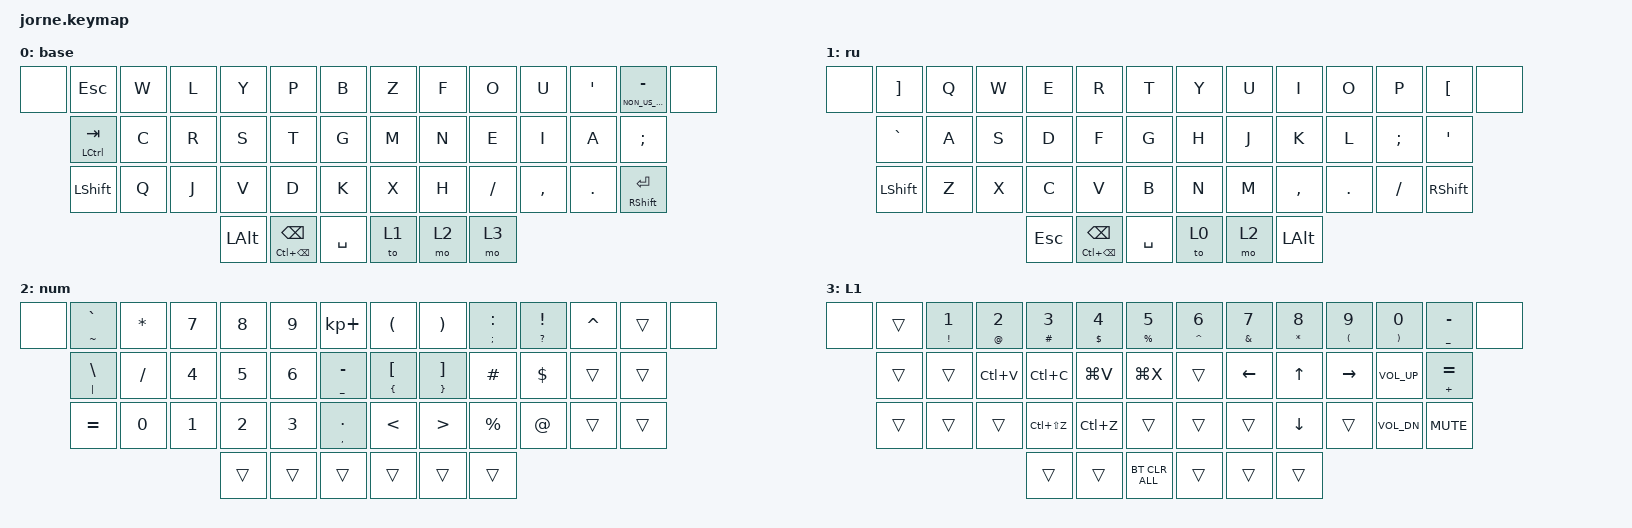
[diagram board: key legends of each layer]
/*
 * Copyright (c) 2020 The ZMK Contributors
 *
 * SPDX-License-Identifier: MIT
 */

#include <behaviors.dtsi>
#include <dt-bindings/zmk/bt.h>
#include <dt-bindings/zmk/keys.h>

/ {
    combos {
        compatible = "zmk,combos";

        combo_game {
            bindings = <&tog 0>;
            key-positions = <38 43>;
            timeout-ms = <200>;
        };

        game_esc {
            bindings = <&kp ESC>;
            key-positions = <2 3>;
        };
    };

    behaviors {
        hml: hml {
            compatible = "zmk,behavior-hold-tap";
            label = "HML";
            bindings = <&kp>, <&kp>;

            #binding-cells = <2>;
            tapping-term-ms = <220>;
            quick-tap-ms = <175>;
            flavor = "balanced";
            require-prior-idle-ms = <100>;
            hold-trigger-key-positions = <7 8 9 10 11 12 13 20 21 22 23 24 25 32 33 34 35 36 37 38 39 40 41 42 43>;
            hold-trigger-on-release;
        };

        hmr: hmr {
            compatible = "zmk,behavior-hold-tap";
            label = "HMR";
            bindings = <&kp>, <&kp>;

            #binding-cells = <2>;
            tapping-term-ms = <220>;
            quick-tap-ms = <175>;
            require-prior-idle-ms = <100>;
            flavor = "balanced";
            hold-trigger-key-positions = <0 1 2 3 4 5 6 14 15 16 17 18 19 26 27 28 29 30 31 38 39 40 41 42 43>;
            hold-trigger-on-release;
        };

        tkl: tkl {
            compatible = "zmk,behavior-hold-tap";
            label = "TKL";
            bindings = <&mo>, <&kp>;

            #binding-cells = <2>;
            tapping-term-ms = <220>;
            quick-tap-ms = <175>;
            flavor = "balanced";
            require-prior-idle-ms = <100>;
            hold-trigger-key-positions = <7 8 9 10 11 12 13 20 21 22 23 24 25 32 33 34 35 36 37 38 39 40 41 42 43>;
            hold-trigger-on-release;
        };

        tkr: tkr {
            compatible = "zmk,behavior-hold-tap";
            label = "TKR";
            bindings = <&mo>, <&kp>;

            #binding-cells = <2>;
            tapping-term-ms = <220>;
            quick-tap-ms = <175>;
            require-prior-idle-ms = <100>;
            flavor = "balanced";
            hold-trigger-key-positions = <0 1 2 3 4 5 6 14 15 16 17 18 19 26 27 28 29 30 31 38 39 40 41 42 43>;
            hold-trigger-on-release;
        };
    };

    keymap {
        compatible = "zmk,keymap";

        base {
            // Jorne: 44 keys (positions 0 and 13 are extra outer keys, not present physically)
            // -----------------------------------------------------------------------------------------
            // | x |  ESC |  Q  |  W  |  E  |  R  |  T  |   |  Y  |  U   |  I  |  O  |  P  | BKSP | x |
            //     | TAB  |  A  |  S  |  D  |  F  |  G  |   |  H  |  J   |  K  |  L  |  '  |  '   |
            //     | SHFT |  Z  |  X  |  C  |  V  |  B  |   |  N  |  M   |  ,  |  .  |  /  | SHFT |
            //                        | GUI | LWR | SPC |   | ENT | RSE  | ALT |

            bindings = <
&none  &kp ESC               &kp W  &kp L  &kp Y         &kp P                        &kp B        &kp Z  &kp F  &kp O      &kp U      &kp SQT     &mt NON_US_BACKSLASH MINUS  &none
       &mt LEFT_CONTROL TAB  &kp C  &kp R  &kp S         &kp T                        &kp G        &kp M  &kp N  &kp E      &kp I      &kp A       &kp SEMICOLON
       &kp LEFT_SHIFT        &kp Q  &kp J  &kp V         &kp D                        &kp K        &kp X  &kp H  &kp SLASH  &kp COMMA  &kp PERIOD  &mt RIGHT_SHIFT ENTER
                                           &kp LEFT_ALT  &mt LC(BACKSPACE) BACKSPACE  &kp SPACE    &to 1  &mo 2  &mo 3
            >;
        };

        ru {
            bindings = <
&none  &kp RIGHT_BRACKET  &kp Q  &kp W  &kp E       &kp R                        &kp T        &kp Y  &kp U  &kp I         &kp O    &kp P          &kp LEFT_BRACKET  &none
       &kp GRAVE          &kp A  &kp S  &kp D       &kp F                        &kp G        &kp H  &kp J  &kp K         &kp L    &kp SEMICOLON  &kp SQT
       &kp LEFT_SHIFT     &kp Z  &kp X  &kp C       &kp V                        &kp B        &kp N  &kp M  &kp COMMA     &kp DOT  &kp FSLH       &kp RIGHT_SHIFT
                                        &kp ESCAPE  &mt LC(BACKSPACE) BACKSPACE  &kp SPACE    &to 0  &mo 2  &kp LEFT_ALT
            >;
        };

        num {
            bindings = <
&none  &mt TILDE GRAVE  &kp ASTERISK  &kp N7  &kp N8  &kp N9  &kp KP_PLUS             &kp LEFT_PARENTHESIS         &kp RIGHT_PARENTHESIS          &mt SEMICOLON COLON  &mt QUESTION EXCLAMATION  &kp CARET  &trans  &none
       &mt PIPE BSLH    &kp SLASH     &kp N4  &kp N5  &kp N6  &mt UNDERSCORE MINUS    &mt LEFT_BRACE LEFT_BRACKET  &mt RIGHT_BRACE RIGHT_BRACKET  &kp HASH             &kp DOLLAR                &trans     &trans
       &kp EQUAL        &kp NUMBER_0  &kp N1  &kp N2  &kp N3  &mt COMMA PERIOD        &kp LESS_THAN                &kp GREATER_THAN               &kp PERCENT          &kp AT_SIGN               &trans     &trans
                                              &trans  &trans  &trans                  &trans                       &trans                         &trans
            >;
        };

        L1 {
            bindings = <
&none  &trans  &mt EXCLAMATION NUMBER_1  &mt AT_SIGN NUMBER_2  &mt POUND NUMBER_3  &mt DOLLAR NUMBER_4  &mt PERCENT NUMBER_5    &mt CARET NUMBER_6  &mt AMPERSAND NUMBER_7  &mt ASTERISK NUMBER_8  &mt LEFT_PARENTHESIS NUMBER_9  &mt RIGHT_PARENTHESIS NUMBER_0  &mt UNDERSCORE MINUS  &none
       &trans  &trans                    &kp LC(V)             &kp LC(C)           &kp LG(V)            &kp LG(X)               &trans              &kp LEFT_ARROW          &kp UP_ARROW           &kp RIGHT_ARROW                &kp C_VOLUME_UP                 &mt PLUS EQUAL
       &trans  &trans                    &trans                &kp LC(LS(Z))       &kp LC(Z)            &trans                  &trans              &trans                  &kp DOWN_ARROW         &trans                         &kp C_VOL_DN                    &kp K_MUTE
                                                               &trans              &trans               &bt BT_CLR_ALL          &trans              &trans                  &trans
            >;
        };
    };
};
